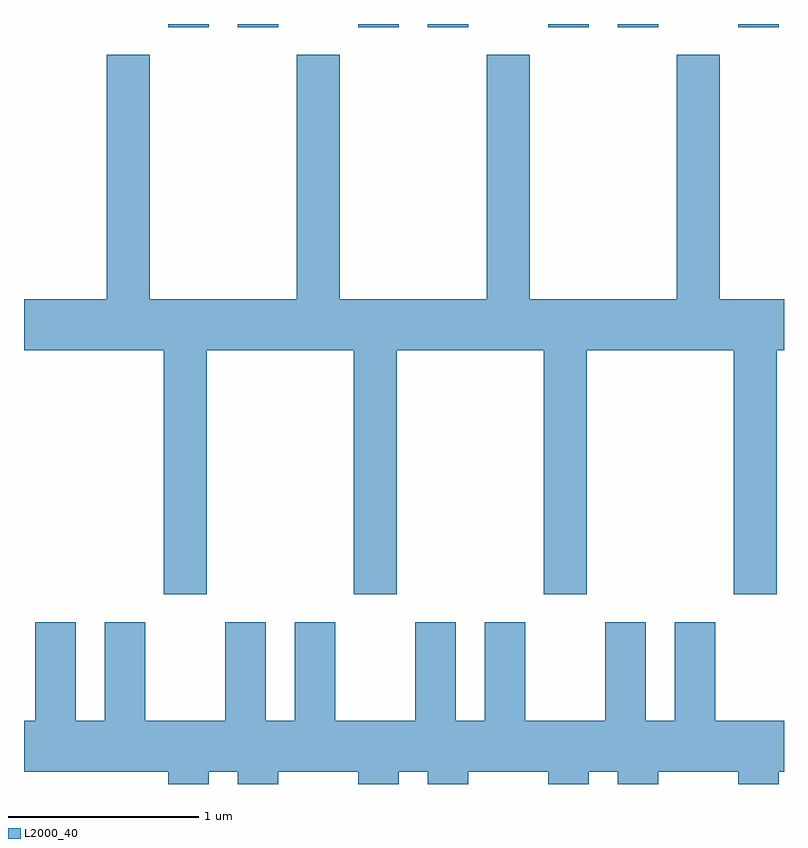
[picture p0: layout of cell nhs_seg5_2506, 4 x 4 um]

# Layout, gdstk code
import gdstk
lib = gdstk.Library(unit=1e-6, precision=1e-09)
def R(c, l, rs):  # rectangles x0, y0, x1, y1
    for r in rs: c.add(gdstk.rectangle(r[:2], r[2:], *l))
def P(c, l, *ps):  # polygons
    for p in ps: c.add(gdstk.Polygon(p, *l))
L2000_40 = (2000, 40)

nhs_seg5_2506 = lib.new_cell('nhs_seg5_2506')
R(nhs_seg5_2506, L2000_40, [(260.371,1454.056,260.584,1454.072), (260.736,1454.056,260.949,1454.072), (261.371,1454.056,261.584,1454.072), (261.736,1454.056,261.949,1454.072), (262.371,1454.056,262.584,1454.072), (262.736,1454.056,262.949,1454.072), (263.371,1454.056,263.584,1454.072)])
P(nhs_seg5_2506, L2000_40, [(260.274,1453.909),(260.046,1453.909),(260.046,1452.624),(259.611,1452.624),(259.611,1452.356),(260.346,1452.356),(260.346,1451.071),(260.574,1451.071),(260.574,1452.356),(261.346,1452.356),(261.346,1451.071),(261.574,1451.071),(261.574,1452.356),(262.346,1452.356),(262.346,1451.071),(262.574,1451.071),(262.574,1452.356),(263.346,1452.356),(263.346,1451.071),(263.574,1451.071),(263.574,1452.356),(263.611,1452.356),(263.611,1452.624),(263.274,1452.624),(263.274,1453.909),(263.046,1453.909),(263.046,1452.624),(262.274,1452.624),(262.274,1453.909),(262.046,1453.909),(262.046,1452.624),(261.274,1452.624),(261.274,1453.909),(261.046,1453.909),(261.046,1452.624),(260.274,1452.624)],
  [(260.584,1450.136),(260.736,1450.136),(260.736,1450.072),(260.949,1450.072),(260.949,1450.136),(261.371,1450.136),(261.371,1450.072),(261.584,1450.072),(261.584,1450.136),(261.736,1450.136),(261.736,1450.072),(261.949,1450.072),(261.949,1450.136),(262.371,1450.136),(262.371,1450.072),(262.584,1450.072),(262.584,1450.136),(262.736,1450.136),(262.736,1450.072),(262.949,1450.072),(262.949,1450.136),(263.371,1450.136),(263.371,1450.072),(263.584,1450.072),(263.584,1450.136),(263.611,1450.136),(263.611,1450.404),(263.249,1450.404),(263.249,1450.924),(263.036,1450.924),(263.036,1450.404),(262.884,1450.404),(262.884,1450.924),(262.671,1450.924),(262.671,1450.404),(262.249,1450.404),(262.249,1450.924),(262.036,1450.924),(262.036,1450.404),(261.884,1450.404),(261.884,1450.924),(261.671,1450.924),(261.671,1450.404),(261.249,1450.404),(261.249,1450.924),(261.036,1450.924),(261.036,1450.404),(260.884,1450.404),(260.884,1450.924),(260.671,1450.924),(260.671,1450.404),(260.249,1450.404),(260.249,1450.924),(260.036,1450.924),(260.036,1450.404),(259.884,1450.404),(259.884,1450.924),(259.671,1450.924),(259.671,1450.404),(259.611,1450.404),(259.611,1450.136),(260.371,1450.136),(260.371,1450.072),(260.584,1450.072)])

lib.write_gds('nhs_seg5_2506.gds')
